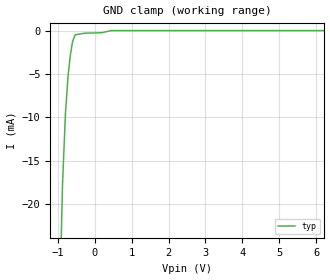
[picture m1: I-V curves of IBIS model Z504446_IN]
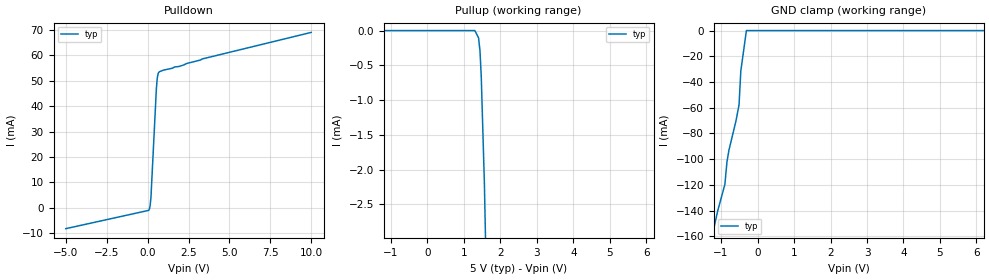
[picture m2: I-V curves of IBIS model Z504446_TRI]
| YOU ARE ONLY AUTHORIZED TO USE THIS SOFTWARE
| ACCORDING TO LICENSOR'S LICENSE RESTRICTIONS.
[IBIS Ver] 3.1
[File Name] sn54ls368aj.ibs
[File Rev] 2.0
[Source] Measured and created by ICX Technology
[Date] Friday 7/14/00 9:08:15 AM
[Copyright]
| (C) COPYRIGHT 1993-2000
| MENTOR GRAPHICS CORPORATION
| ICX STANDARD LIBRARY, ICX PROJECT MODELING,
| ICX CUSTOM MODELING, ICX VENDOR MODEL
| ALL RIGHTS RESERVED.
| THE FOLLOWING ARE TRADEMARKS OR SERVICE MARKS OF
| MENTOR GRAPHICS CORPORATION:ICX (R), ICX STANDARD
| LIBRARY(R), ICX PROJECT MODELING(R), ICX CUSTOM
| MODELING(R), qualityIBIS(TM), MODELVIEWER(TM),
| AND MODELEDITOR(TM)
| ALL COPIES OF SOFTWARE, INCLUDING BUT NOT LIMITED TO
| ANY MODIFICATIONS, ENHANCEMENTS OR DERIVATIVE WORKS,
| MUST CONTAIN ALL MENTOR GRAPHICS CORPORATION'S
| NOTICES AND LEGENDS, INCLUDING THOSE EMBEDDED IN
| SOFTWARE AND THOSE AFFIXED TO SOFTWARE MEDIUM
| AND CONTAINER, AS RECEIVED FROM MENTOR GRAPHICS
| CORPORATION.
|  ZAP Model Builder 2.7
[Component] SN54LS368AJ
[Manufacturer] OnSemiconductor
[Package]
| variable   typ   min   max
R_pkg  .212ohms NA NA
L_pkg  4.758nH NA NA
C_pkg  1.944pF NA NA
[Pin] signal_name  model_name  R_pin  L_pin C_pin
1 _G1 Z504446_IN .224 7.258n 2.683p
2 A0 Z504446_IN .216 5.258n 2.19p
3 _Y0 Z504446_TRI .208 3.758n 1.697p
4 A1 Z504446_IN .2 2.758n 1.204p
5 _Y1 Z504446_TRI .2 2.758n 1.204p
6 A2 Z504446_IN .208 3.758n 1.697p
7 _Y2 Z504446_TRI .216 5.258n 2.19p
8 GND GND .224 7.258n 2.683p
9 _Y3 Z504446_TRI .224 7.258n 2.683p
10 A3 Z504446_IN .216 5.258n 2.19p
11 _Y4 Z504446_TRI .208 3.758n 1.697p
12 A4 Z504446_IN .2 2.758n 1.204p
13 _Y5 Z504446_TRI .2 2.758n 1.204p
14 A5 Z504446_IN .208 3.758n 1.697p
15 _G2 Z504446_IN .216 5.258n 2.19p
16 VCC POWER .224 7.258n 2.683p
| Models and submodels in the file (2): Z504446_IN (Input), Z504446_TRI (3-state)
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| (C) COPYRIGHT 1993-2000
| MENTOR GRAPHICS CORPORATION
| ICX STANDARD LIBRARY, ICX PROJECT MODELING,
| ICX CUSTOM MODELING, ICX VENDOR MODEL
| ALL RIGHTS RESERVED.
| THE FOLLOWING ARE TRADEMARKS OR SERVICE MARKS OF
| MENTOR GRAPHICS CORPORATION:ICX (R), ICX STANDARD
| LIBRARY(R), ICX PROJECT MODELING(R), ICX CUSTOM
| MODELING(R), qualityIBIS(TM), MODELVIEWER(TM),
| AND MODELEDITOR(TM)
| ALL COPIES OF SOFTWARE, INCLUDING BUT NOT LIMITED TO
| ANY MODIFICATIONS, ENHANCEMENTS OR DERIVATIVE WORKS,
| MUST CONTAIN ALL MENTOR GRAPHICS CORPORATION'S
| NOTICES AND LEGENDS, INCLUDING THOSE EMBEDDED IN
| SOFTWARE AND THOSE AFFIXED TO SOFTWARE MEDIUM
| AND CONTAINER, AS RECEIVED FROM MENTOR GRAPHICS
| CORPORATION.
| Model Application Version 1.89 2/18/99.
[Model] Z504446_IN
Model_type Input
Vinl = 800.0mV
Vinh = 2.000V
C_comp 4.000pF NA NA
| variable typ   min   max
[Voltage Range] 5.000V NA NA
[GND Clamp Reference] 0.000V NA NA
[POWER Clamp Reference] 5.000V NA NA
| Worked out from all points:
|   GND clamp passes 1 mA (typ) near -0.57 V on its own axis
[GND Clamp]
-5V       -752.5mA   NA         NA
-868.5mV  -17.72mA   NA         NA
-790mV    -9.586mA   NA         NA
-717.7mV  -5.164mA   NA         NA
-657.9mV  -2.845mA   NA         NA
-595.7mV  -1.26mA    NA         NA
-527.2mV  -472.7uA   NA         NA
-263.6mV  -293.6uA   NA         NA
192.9mV   -242.8uA   NA         NA
449.2mV   7.167uA    NA         NA
10V       7.167uA    NA         NA
[POWER Clamp]
-5V       0A         NA         NA
10V       0A         NA         NA
| (C) COPYRIGHT 1993-2000
| MENTOR GRAPHICS CORPORATION
| ICX STANDARD LIBRARY, ICX PROJECT MODELING,
| ICX CUSTOM MODELING, ICX VENDOR MODEL
| ALL RIGHTS RESERVED.
| THE FOLLOWING ARE TRADEMARKS OR SERVICE MARKS OF
| MENTOR GRAPHICS CORPORATION:ICX (R), ICX STANDARD
| LIBRARY(R), ICX PROJECT MODELING(R), ICX CUSTOM
| MODELING(R), qualityIBIS(TM), MODELVIEWER(TM),
| AND MODELEDITOR(TM)
| ALL COPIES OF SOFTWARE, INCLUDING BUT NOT LIMITED TO
| ANY MODIFICATIONS, ENHANCEMENTS OR DERIVATIVE WORKS,
| MUST CONTAIN ALL MENTOR GRAPHICS CORPORATION'S
| NOTICES AND LEGENDS, INCLUDING THOSE EMBEDDED IN
| SOFTWARE AND THOSE AFFIXED TO SOFTWARE MEDIUM
| AND CONTAINER, AS RECEIVED FROM MENTOR GRAPHICS
| CORPORATION.
| Model Application Version 1.89 2/18/99.
[Model] Z504446_TRI
Model_type 3-state
Vref=588.0mV
Rref=588.5ohms
Cref=45.00pF
Vmeas=1.300V
C_comp 8.000pF NA NA
| variable typ   min   max
[Voltage Range] 5.000V NA NA
[POWER Clamp Reference] 5.000V NA NA
[Pullup Reference] 5.000V NA NA
[Pulldown Reference] 0.000V NA NA
[GND Clamp Reference] 0.000V NA NA
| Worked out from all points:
|   slope of the pulldown table from 0 to 0.75 V, typ, clamps not added: 13.7 ohm
|   GND clamp passes 1 mA (typ) near -0.31 V on its own axis
[GND Clamp]
-5V       -642.6mA   NA         NA
-1.093V   -140.3mA   NA         NA
-895.7mV  -119.6mA   NA         NA
-838.5mV  -102.1mA   NA         NA
-784.9mV  -93.09mA   NA         NA
-590.8mV  -70.15mA   NA         NA
-507.8mV  -57.82mA   NA         NA
-459mV    -31.43mA   NA         NA
-306mV    0A         NA         NA
10V       0A         NA         NA
[Pulldown]
-5V       -8.17mA    NA         NA
68.7mV    -978.3uA   NA         NA
107.4mV   -498uA     NA         NA
151.4mV   703uA      NA         NA
205.1mV   4.194mA    NA         NA
537.7mV   47mA       NA         NA
591.3mV   51.06mA    NA         NA
649.3mV   52.85mA    NA         NA
729.9mV   53.51mA    NA         NA
3.335V    58.5mA     NA         NA
10V       68.94mA    NA         NA
[Pullup]
-5V       943.8nA    NA         NA
1.3V      943.8nA    NA         NA
1.402V    -104.8uA   NA         NA
1.44V     -290.5uA   NA         NA
1.475V    -655.5uA   NA         NA
1.562V    -2.211mA   NA         NA
10V       -222.7mA   NA         NA
[POWER Clamp]
-5V       0A         NA         NA
10V       0A         NA         NA
[Ramp]
| variable typ min max
dV/dt_r 1.893/6.925n NA NA
dV/dt_f 1.893/4.957n NA NA
R_load = 500.0Ohms
